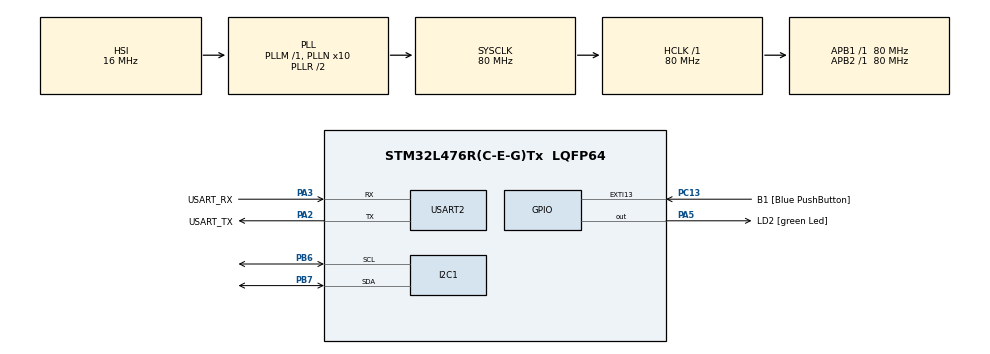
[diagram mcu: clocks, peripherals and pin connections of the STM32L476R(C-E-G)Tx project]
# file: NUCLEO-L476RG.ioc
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I2C1.Timing=0x10D19CE4
Mcu.Family=STM32L4
Mcu.Name=STM32L476R(C-E-G)Tx
Mcu.Package=LQFP64
NVIC.I2C1_ER_IRQn=true\:0\:0\:false\:false\:true\:true\:true\:true
NVIC.I2C1_EV_IRQn=true\:0\:0\:false\:false\:true\:true\:true\:true
NVIC.PriorityGroup=NVIC_PRIORITYGROUP_4
NVIC.USART2_IRQn=true\:0\:0\:false\:false\:true\:true\:true\:true
PA13\ (JTMS-SWDIO).GPIO_Label=TMS
PA13\ (JTMS-SWDIO).Mode=Serial_Wire
PA13\ (JTMS-SWDIO).Signal=SYS_JTMS-SWDIO
PA14\ (JTCK-SWCLK).GPIO_Label=TCK
PA14\ (JTCK-SWCLK).Mode=Serial_Wire
PA14\ (JTCK-SWCLK).Signal=SYS_JTCK-SWCLK
PA2.GPIO_Label=USART_TX
PA2.GPIO_Mode=GPIO_MODE_AF_PP
PA2.GPIO_PuPd=GPIO_PULLUP
PA2.GPIO_Speed=GPIO_SPEED_FREQ_VERY_HIGH
PA2.Mode=Asynchronous
PA2.Signal=USART2_TX
PA3.GPIO_Label=USART_RX
PA3.GPIO_Mode=GPIO_MODE_AF_PP
PA3.GPIO_PuPd=GPIO_PULLUP
PA3.GPIO_Speed=GPIO_SPEED_FREQ_VERY_HIGH
PA3.Mode=Asynchronous
PA3.Signal=USART2_RX
PA5.GPIO_Label=LD2 [green Led]
PA5.GPIO_ModeDefaultOutputPP=GPIO_MODE_OUTPUT_PP
PA5.GPIO_PuPd=GPIO_NOPULL
PA5.GPIO_Speed=GPIO_SPEED_FREQ_LOW
PA5.Signal=GPIO_Output
PB3\ (JTDO-TRACESWO).GPIO_Label=SWO
PB3\ (JTDO-TRACESWO).Signal=SYS_JTDO-SWO
PB6.GPIO_Pu=GPIO_PULLUP
PB6.Mode=I2C
PB6.Signal=I2C1_SCL
PB7.GPIO_Pu=GPIO_PULLUP
PB7.Mode=I2C
PB7.Signal=I2C1_SDA
PC13.GPIO_Label=B1 [Blue PushButton]
PC13.GPIO_ModeDefaultEXTI=GPIO_MODE_IT_FALLING
PC13.GPIO_PuPd=GPIO_NOPULL
PC13.Signal=GPXTI13
PC14-OSC32_IN\ (PC14).Mode=LSE-External-Oscillator
PC14-OSC32_IN\ (PC14).Signal=RCC_OSC32_IN
PC15-OSC32_OUT\ (PC15).Mode=LSE-External-Oscillator
PC15-OSC32_OUT\ (PC15).Signal=RCC_OSC32_OUT
PH0-OSC_IN\ (PH0).Signal=RCC_OSC_IN
PH1-OSC_OUT\ (PH1).Signal=RCC_OSC_OUT
ProjectManager.HeapSize=0x200
ProjectManager.StackSize=0x400
ProjectManager.TargetToolchain=STM32CubeIDE
RCC.ADCFreq_Value=64000000
RCC.AHBFreq_Value=80000000
RCC.APB1Freq_Value=80000000
RCC.APB1TimFreq_Value=80000000
RCC.APB2Freq_Value=80000000
RCC.APB2TimFreq_Value=80000000
RCC.CortexFreq_Value=80000000
RCC.HCLKFreq_Value=80000000
RCC.HSE_VALUE=8000000
RCC.HSI_VALUE=16000000
RCC.MSI_VALUE=4000000
RCC.PLLN=10
RCC.PLLSourceVirtual=RCC_PLLSOURCE_HSI
RCC.PREFETCH_ENABLE=1
RCC.SYSCLKFreq_VALUE=80000000
RCC.SYSCLKSource=RCC_SYSCLKSOURCE_PLLCLK
RCC.USBFreq_Value=64000000
RCC.VCOOutputFreq_Value=160000000
USART2.VirtualMode-Asynchronous=VM_ASYNC
board=NUCLEO-L476RG

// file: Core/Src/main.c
/* USER CODE BEGIN Header */
/**
  ******************************************************************************
  * @file           : main.c
  * @brief          : Main program body
  ******************************************************************************
  * @attention
  *
  * Copyright (c) 2026 STMicroelectronics.
  * All rights reserved.
  *
  * This software is licensed under terms that can be found in the LICENSE file
  * in the root directory of this software component.
  * If no LICENSE file comes with this software, it is provided AS-IS.
  *
  ******************************************************************************
  */
/* USER CODE END Header */
#include "main.h"

I2C_HandleTypeDef hi2c1;

UART_HandleTypeDef huart2;

void SystemClock_Config(void);
static void MX_GPIO_Init(void);
static void MX_USART2_UART_Init(void);
static void MX_I2C1_Init(void);

/* USER CODE BEGIN 0 */
#include <string.h>
#include <stdio.h>
#include <stdlib.h>

#define PCF8591_ADDR (0x48 << 1) // 0x90

// Buffers da UART
uint8_t rx_char;
char rx_buffer[50];
volatile uint8_t rx_index = 0;
volatile uint8_t comando_pronto = 0;

// Variáveis do I2C
uint8_t i2c_tx_buffer[2];
uint8_t i2c_rx_buffer[2];
volatile uint8_t i2c_read_done = 0;
volatile uint8_t canal_atual = 0; // Para saber qual canal imprimir
/* USER CODE END 0 */

int main(void)
{

  /* MCU Configuration--------------------------------------------------------*/

  /* Reset of all peripherals, Initializes the Flash interface and the Systick. */
  HAL_Init();

  /* Configure the system clock */
  SystemClock_Config();

  /* Initialize all configured peripherals */
  MX_GPIO_Init();
  MX_USART2_UART_Init();
  MX_I2C1_Init();
  /* USER CODE BEGIN 2 */
  HAL_UART_Receive_IT(&huart2, &rx_char, 1);
  /* USER CODE END 2 */

  /* Infinite loop */
  while (1)
  {

    /* USER CODE BEGIN 3 */
  if (comando_pronto == 1) {
            comando_pronto = 0;

            if (strncmp(rx_buffer, "Read_AIN0", 9) == 0) {
                canal_atual = 0;
                i2c_tx_buffer[0] = 0x40; // Control Byte: DAC On, AIN0
                // Envia o comando (seleciona canal) e quando terminar a TX, a Callback engatilha a leitura (RX)
                HAL_I2C_Master_Transmit_IT(&hi2c1, PCF8591_ADDR, i2c_tx_buffer, 1);
            }
            else if (strncmp(rx_buffer, "Read_AIN1", 9) == 0) {
                canal_atual = 1;
                i2c_tx_buffer[0] = 0x41; // Control Byte: DAC On, AIN1
                HAL_I2C_Master_Transmit_IT(&hi2c1, PCF8591_ADDR, i2c_tx_buffer, 1);
            }
            else if (strncmp(rx_buffer, "Read_AIN3", 9) == 0) {
                canal_atual = 3;
                i2c_tx_buffer[0] = 0x43; // Control Byte: DAC On, AIN3
                HAL_I2C_Master_Transmit_IT(&hi2c1, PCF8591_ADDR, i2c_tx_buffer, 1);
            }
            else if (strncmp(rx_buffer, "Set_DAC_", 8) == 0) {
                // Extrai o valor do DAC da string digitada no PC
                int dac_val = atoi(&rx_buffer[8]);
                if(dac_val >= 0 && dac_val <= 255) {
                    i2c_tx_buffer[0] = 0x40; // Control Byte: Habilita DAC
                    i2c_tx_buffer[1] = (uint8_t)dac_val; // Valor para o DAC
                    HAL_I2C_Master_Transmit_IT(&hi2c1, PCF8591_ADDR, i2c_tx_buffer, 2);

                    char msg[30];
                    sprintf(msg, "Valor do DAC: %d\r\n", dac_val);
                    HAL_UART_Transmit(&huart2, (uint8_t*)msg, strlen(msg), 100);
                }
            }

            // Limpa o buffer para o próximo comando
            memset(rx_buffer, 0, sizeof(rx_buffer));
            rx_index = 0;
        }

        // Quando a interrupção do I2C terminar de receber os 2 bytes do sensor:
        if (i2c_read_done == 1) {
            i2c_read_done = 0;
            char msg[30];
            // O dado real fica no índice 1, pois o índice 0 é a leitura "antiga" do chip
            sprintf(msg, "AIN%d: %d\r\n", canal_atual, i2c_rx_buffer[1]);
            HAL_UART_Transmit(&huart2, (uint8_t*)msg, strlen(msg), 100);
        }
  }
  /* USER CODE END 3 */
}

void SystemClock_Config(void)
{
  RCC_OscInitTypeDef RCC_OscInitStruct = {0};
  RCC_ClkInitTypeDef RCC_ClkInitStruct = {0};

  /** Configure the main internal regulator output voltage
  */
  if (HAL_PWREx_ControlVoltageScaling(PWR_REGULATOR_VOLTAGE_SCALE1) != HAL_OK)
  {
    Error_Handler();
  }

  /** Initializes the RCC Oscillators according to the specified parameters
  * in the RCC_OscInitTypeDef structure.
  */
  RCC_OscInitStruct.OscillatorType = RCC_OSCILLATORTYPE_HSI;
  RCC_OscInitStruct.HSIState = RCC_HSI_ON;
  RCC_OscInitStruct.HSICalibrationValue = RCC_HSICALIBRATION_DEFAULT;
  RCC_OscInitStruct.PLL.PLLState = RCC_PLL_ON;
  RCC_OscInitStruct.PLL.PLLSource = RCC_PLLSOURCE_HSI;
  RCC_OscInitStruct.PLL.PLLM = 1;
  RCC_OscInitStruct.PLL.PLLN = 10;
  RCC_OscInitStruct.PLL.PLLP = RCC_PLLP_DIV7;
  RCC_OscInitStruct.PLL.PLLQ = RCC_PLLQ_DIV2;
  RCC_OscInitStruct.PLL.PLLR = RCC_PLLR_DIV2;
  if (HAL_RCC_OscConfig(&RCC_OscInitStruct) != HAL_OK)
  {
    Error_Handler();
  }

  /** Initializes the CPU, AHB and APB buses clocks
  */
  RCC_ClkInitStruct.ClockType = RCC_CLOCKTYPE_HCLK|RCC_CLOCKTYPE_SYSCLK
                              |RCC_CLOCKTYPE_PCLK1|RCC_CLOCKTYPE_PCLK2;
  RCC_ClkInitStruct.SYSCLKSource = RCC_SYSCLKSOURCE_PLLCLK;
  RCC_ClkInitStruct.AHBCLKDivider = RCC_SYSCLK_DIV1;
  RCC_ClkInitStruct.APB1CLKDivider = RCC_HCLK_DIV1;
  RCC_ClkInitStruct.APB2CLKDivider = RCC_HCLK_DIV1;

  if (HAL_RCC_ClockConfig(&RCC_ClkInitStruct, FLASH_LATENCY_4) != HAL_OK)
  {
    Error_Handler();
  }
}

static void MX_I2C1_Init(void)
{

  hi2c1.Instance = I2C1;
  hi2c1.Init.Timing = 0x10D19CE4;
  hi2c1.Init.OwnAddress1 = 0;
  hi2c1.Init.AddressingMode = I2C_ADDRESSINGMODE_7BIT;
  hi2c1.Init.DualAddressMode = I2C_DUALADDRESS_DISABLE;
  hi2c1.Init.OwnAddress2 = 0;
  hi2c1.Init.OwnAddress2Masks = I2C_OA2_NOMASK;
  hi2c1.Init.GeneralCallMode = I2C_GENERALCALL_DISABLE;
  hi2c1.Init.NoStretchMode = I2C_NOSTRETCH_DISABLE;
  if (HAL_I2C_Init(&hi2c1) != HAL_OK)
  {
    Error_Handler();
  }

  /** Configure Analogue filter
  */
  if (HAL_I2CEx_ConfigAnalogFilter(&hi2c1, I2C_ANALOGFILTER_ENABLE) != HAL_OK)
  {
    Error_Handler();
  }

  /** Configure Digital filter
  */
  if (HAL_I2CEx_ConfigDigitalFilter(&hi2c1, 0) != HAL_OK)
  {
    Error_Handler();
  }

}

static void MX_USART2_UART_Init(void)
{

  huart2.Instance = USART2;
  huart2.Init.BaudRate = 115200;
  huart2.Init.WordLength = UART_WORDLENGTH_8B;
  huart2.Init.StopBits = UART_STOPBITS_1;
  huart2.Init.Parity = UART_PARITY_NONE;
  huart2.Init.Mode = UART_MODE_TX_RX;
  huart2.Init.HwFlowCtl = UART_HWCONTROL_NONE;
  huart2.Init.OverSampling = UART_OVERSAMPLING_16;
  huart2.Init.OneBitSampling = UART_ONE_BIT_SAMPLE_DISABLE;
  huart2.AdvancedInit.AdvFeatureInit = UART_ADVFEATURE_NO_INIT;
  if (HAL_UART_Init(&huart2) != HAL_OK)
  {
    Error_Handler();
  }

}

static void MX_GPIO_Init(void)
{
  GPIO_InitTypeDef GPIO_InitStruct = {0};

  /* GPIO Ports Clock Enable */
  __HAL_RCC_GPIOC_CLK_ENABLE();
  __HAL_RCC_GPIOH_CLK_ENABLE();
  __HAL_RCC_GPIOA_CLK_ENABLE();
  __HAL_RCC_GPIOB_CLK_ENABLE();

  /*Configure GPIO pin Output Level */
  HAL_GPIO_WritePin(LD2_GPIO_Port, LD2_Pin, GPIO_PIN_RESET);

  /*Configure GPIO pin : B1_Pin */
  GPIO_InitStruct.Pin = B1_Pin;
  GPIO_InitStruct.Mode = GPIO_MODE_IT_FALLING;
  GPIO_InitStruct.Pull = GPIO_NOPULL;
  HAL_GPIO_Init(B1_GPIO_Port, &GPIO_InitStruct);

  /*Configure GPIO pin : LD2_Pin */
  GPIO_InitStruct.Pin = LD2_Pin;
  GPIO_InitStruct.Mode = GPIO_MODE_OUTPUT_PP;
  GPIO_InitStruct.Pull = GPIO_NOPULL;
  GPIO_InitStruct.Speed = GPIO_SPEED_FREQ_LOW;
  HAL_GPIO_Init(LD2_GPIO_Port, &GPIO_InitStruct);

}

/* USER CODE BEGIN 4 */
// Interrupção de Recepção da UART (PC -> NUCLEO)

void HAL_UART_RxCpltCallback(UART_HandleTypeDef *huart) {
    if (huart->Instance == USART2) {
        if (rx_char == '\n' || rx_char == '\r') {
            comando_pronto = 1; // Terminou de digitar e apertou Enter
        } else {
            rx_buffer[rx_index++] = rx_char;
        }
        HAL_UART_Receive_IT(&huart2, &rx_char, 1); // Rearma a recepção
    }
}

// Interrupção: Quando o envio I2C termina
// Interrupção: Quando o envio I2C termina
void HAL_I2C_MasterTxCpltCallback(I2C_HandleTypeDef *hi2c) {
    if (hi2c->Instance == I2C1) {
        // Sem o if do XferSize! Dispara a leitura logo de seguida:
        HAL_I2C_Master_Receive_IT(&hi2c1, PCF8591_ADDR, i2c_rx_buffer, 2);
    }
}

// Interrupção: Quando o recebimento I2C termina
void HAL_I2C_MasterRxCpltCallback(I2C_HandleTypeDef *hi2c) {
    if (hi2c->Instance == I2C1) {
        i2c_read_done = 1; // Levanta a bandeira para o while(1) imprimir no PC
    }
}
/* USER CODE END 4 */

void Error_Handler(void)
{
  __disable_irq();
  while (1)
  {
  }
}
